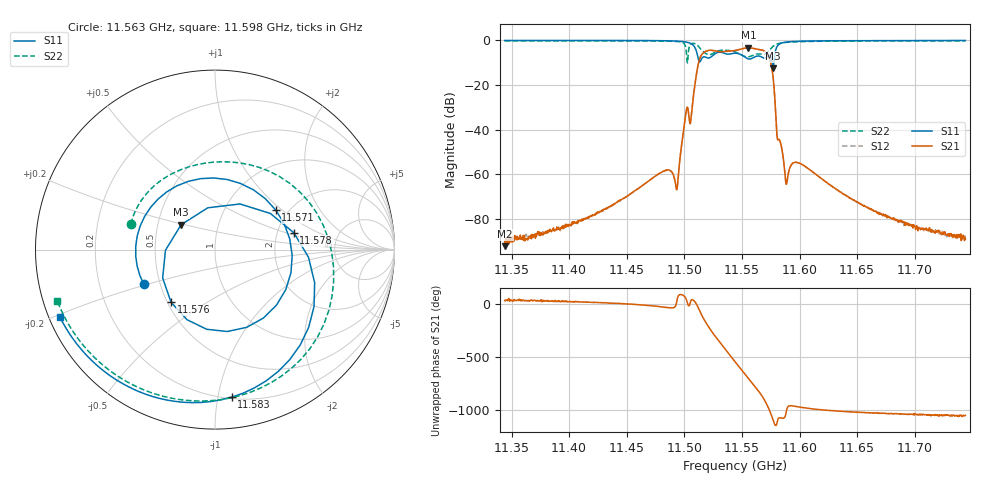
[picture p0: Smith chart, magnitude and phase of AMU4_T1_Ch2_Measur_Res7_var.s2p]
#  HZ  S  RI  R  50.00
! Rohde & Schwarz ZVA50 2Ports - Version 3.70 - 1145.1110k50 SN: 100192
! Date: 2025-08-07 12:45:22
! Measurements: S11 S21 S12 S22
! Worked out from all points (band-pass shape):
!   1001 points, 11.344 GHz to 11.744 GHz, reference 50 ohm
!   highest |S21| = -3.41 dB at 11.556 GHz (marker M1); lowest = -92.2 dB at 11.344 GHz (marker M2)
!   |S21| within 3 dB of the highest: 11.51519 GHz to 11.5722 GHz (57.01 MHz wide, 0.494 % of centre)
!   lowest |S11| = -12.6 dB at 11.577 GHz (marker M3), VSWR 1.61, Z = 33 + j9.67 ohm
!   |S11| at or under -10 dB: 11.5761 GHz to 11.57775 GHz (1.642 MHz wide, 0.0142 % of centre)
!   |S22| runs from -10.2 to -0.3 dB; largest |S21 - S12| = 0.0016
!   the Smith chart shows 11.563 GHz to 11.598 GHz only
!   S11 on the Smith chart (normalised r, x): 11.563 GHz: 0.41, -0.20; 11.571 GHz: 1.72, +0.91; 11.576 GHz: 0.52, -0.36; 11.578 GHz: 2.47, +0.58; 11.583 GHz: 0.21, -1.10; 11.598 GHz: 0.03, -0.21
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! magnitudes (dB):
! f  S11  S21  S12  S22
! 11.344 GHz  -0.1  -90.1  -89.2  -0.3
! 11.344 GHz  -0.1  -92.2  -89.6  -0.3
! 11.411 GHz  -0.1  -80.3  -80.4  -0.3
! 11.478 GHz  -0.2  -59.8  -59.8  -0.4
! 11.494 GHz  -0.4  -66.8  -66.9  -0.6
! 11.501 GHz  -0.8  -33.3  -33.3  -3.3
! 11.506 GHz  -1.6  -34.0  -34.0  -1.6
! 11.511 GHz  -6.2  -13.1  -13.2  -2.2
! 11.515 GHz  -8.1  -6.4  -6.4  -4.5
! 11.544 GHz  -5.8  -4.6  -4.6  -5.2
! 11.556 GHz  -8.4  -3.4  -3.4  -7.4
! 11.563 GHz  -7.1  -4.0  -4.0  -6.2
! 11.571 GHz  -7.9  -5.4  -5.4  -6.0
! 11.576 GHz  -8.4  -11.4  -11.5  -3.5
! 11.577 GHz  -12.6  -15.3  -15.3  -2.9
! 11.578 GHz  -6.9  -24.7  -24.8  -2.2
! 11.583 GHz  -1.6  -44.8  -44.8  -1.4
! 11.589 GHz  -0.8  -64.3  -64.4  -1.0
! 11.598 GHz  -0.5  -54.7  -54.7  -0.7
! 11.611 GHz  -0.4  -58.6  -58.7  -0.5
! 11.678 GHz  -0.2  -79.0  -78.9  -0.3
! 11.744 GHz  -0.1  -88.9  -87.4  -0.3
